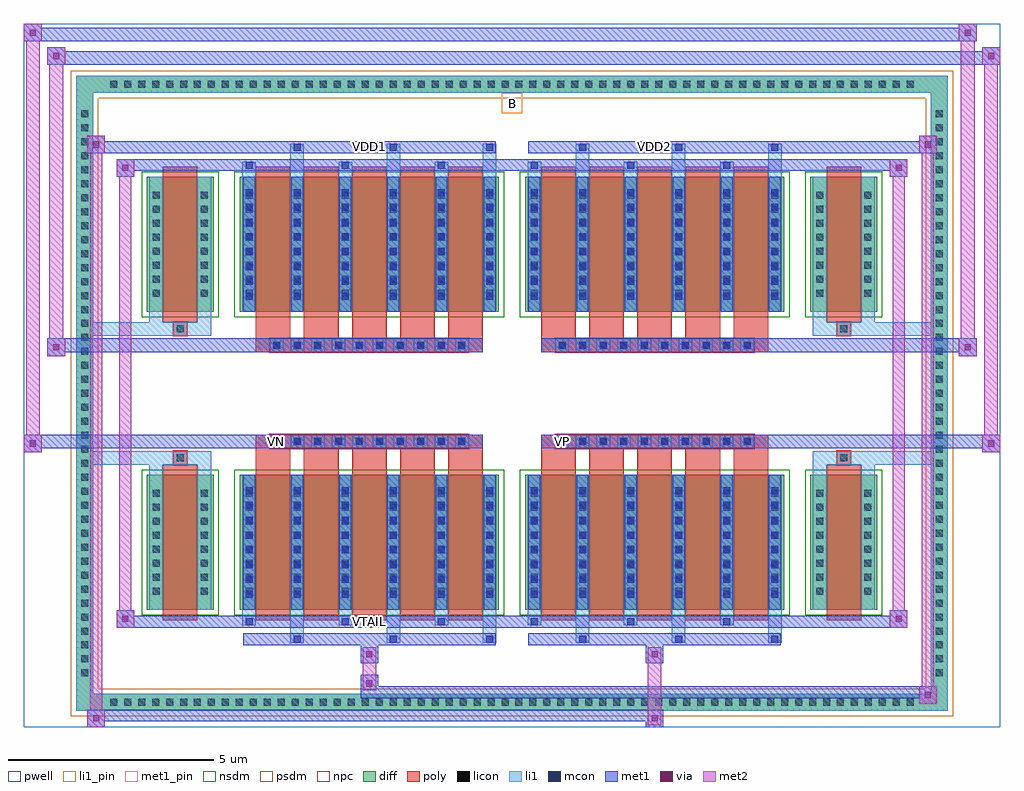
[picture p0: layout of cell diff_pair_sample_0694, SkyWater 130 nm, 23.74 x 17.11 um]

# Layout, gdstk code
import gdstk
lib = gdstk.Library(unit=1e-6, precision=5e-09)
def R(c, l, rs):  # rectangles x0, y0, x1, y1
    for r in rs: c.add(gdstk.rectangle(r[:2], r[2:], *l))
def A(c, l, x, y, w, h, nx, ny, dx, dy):  # array of equal rectangles
    R(c, l, [(x+i*dx, y+j*dy, x+i*dx+w, y+j*dy+h) for i in range(nx) for j in range(ny)])
def P(c, l, *ps):  # polygons
    for p in ps: c.add(gdstk.Polygon(p, *l))
pwell = (64, 44)
diff = (65, 20)
poly = (66, 20)
licon = (66, 44)
li1_pin = (67, 16)
li1 = (67, 20)
mcon = (67, 44)
met1_pin = (68, 16)
met1 = (68, 20)
via = (68, 44)
met2 = (69, 20)
nsdm = (93, 44)
psdm = (94, 20)
npc = (95, 20)

diff_pair_sample_0694 = lib.new_cell('diff_pair_sample_0694')
R(diff_pair_sample_0694, pwell, [(-11.87,-8.12,11.87,8.99), (-9.19,-6.31,-0.01,-0.805), (0.01,-6.31,9.19,-0.805), (-9.19,0.805,-0.01,6.31), (0.01,0.805,9.19,6.31)])
A(diff_pair_sample_0694, diff, -9.895, -7.72, 0.41, 0.41, 58, 2, 0.34, 15.03)
A(diff_pair_sample_0694, diff, -10.6, -7.005, 0.41, 0.41, 1, 41, 0, 0.34)
A(diff_pair_sample_0694, diff, 10.19, -7.005, 0.41, 0.41, 1, 41, 0, 0.34)
R(diff_pair_sample_0694, diff, [(-9.895,-7.72,9.895,-7.31), (-10.6,-7.005,-10.19,7.005), (10.19,-7.005,10.6,7.005), (-8.88,-5.265,-7.26,-1.985), (-6.62,-5.265,-0.32,-1.985), (0.32,-5.265,6.62,-1.985), (7.26,-5.265,8.88,-1.985), (-8.88,1.985,-7.26,5.265), (-6.62,1.985,-0.32,5.265), (0.32,1.985,6.62,5.265), (7.26,1.985,8.88,5.265), (-9.895,7.31,9.895,7.72)])
P(diff_pair_sample_0694, diff, [(10.6,7.72),(-10.6,7.72),(-10.6,-7.31),(-10.19,-7.31),(-10.19,7.31),(10.19,7.31),(10.19,-7.31),(-10.19,-7.31),(-10.6,-7.31),(-10.6,-7.72),(10.6,-7.72)])
A(diff_pair_sample_0694, poly, -6.23, -5.515, 0.84, 3.78, 5, 2, 1.17, 7.25)
A(diff_pair_sample_0694, poly, 0.71, -5.515, 0.84, 3.78, 5, 2, 1.17, 7.25)
A(diff_pair_sample_0694, poly, -6.23, -1.735, 0.84, 0.4, 5, 2, 1.17, 3.07)
A(diff_pair_sample_0694, poly, 0.71, -1.735, 0.84, 0.4, 5, 2, 1.17, 3.07)
A(diff_pair_sample_0694, poly, -5.885, -1.335, 0.33, 0.33, 10, 2, 0.5, 2.34)
A(diff_pair_sample_0694, poly, 1.055, -1.335, 0.33, 0.33, 10, 2, 0.5, 2.34)
R(diff_pair_sample_0694, poly, [(-8.49,-5.515,-7.65,-1.735), (7.65,-5.515,8.49,-1.735), (-8.235,-1.735,-7.905,-1.405), (-8.235,-1.735,-7.905,-1.405), (7.905,-1.735,8.235,-1.405), (7.905,-1.735,8.235,-1.405), (-6.23,-1.335,-0.71,-1.005), (0.71,-1.335,6.23,-1.005), (-6.23,1.005,-0.71,1.335), (0.71,1.005,6.23,1.335), (-8.235,1.405,-7.905,1.735), (-8.235,1.405,-7.905,1.735), (7.905,1.405,8.235,1.735), (7.905,1.405,8.235,1.735), (-8.49,1.735,-7.65,5.515), (7.65,1.735,8.49,5.515)])
A(diff_pair_sample_0694, licon, -9.775, -7.6, 0.17, 0.17, 58, 2, 0.34, 15.03)
A(diff_pair_sample_0694, licon, -10.48, -6.885, 0.17, 0.17, 1, 41, 0, 0.34)
A(diff_pair_sample_0694, licon, 10.31, -6.885, 0.17, 0.17, 1, 41, 0, 0.34)
A(diff_pair_sample_0694, licon, -8.74, -4.9, 0.17, 0.17, 1, 8, 0, 0.34)
A(diff_pair_sample_0694, licon, -7.57, -4.9, 0.17, 0.17, 1, 8, 0, 0.34)
A(diff_pair_sample_0694, licon, -6.48, -4.9, 0.17, 0.17, 6, 8, 1.17, 0.34)
A(diff_pair_sample_0694, licon, 0.46, -4.9, 0.17, 0.17, 6, 8, 1.17, 0.34)
A(diff_pair_sample_0694, licon, 7.4, -4.9, 0.17, 0.17, 1, 8, 0, 0.34)
A(diff_pair_sample_0694, licon, 8.57, -4.9, 0.17, 0.17, 1, 8, 0, 0.34)
A(diff_pair_sample_0694, licon, -5.805, -1.255, 0.17, 0.17, 10, 2, 0.5, 2.34)
A(diff_pair_sample_0694, licon, 1.135, -1.255, 0.17, 0.17, 10, 2, 0.5, 2.34)
A(diff_pair_sample_0694, licon, -8.74, 2.35, 0.17, 0.17, 1, 8, 0, 0.34)
A(diff_pair_sample_0694, licon, -7.57, 2.35, 0.17, 0.17, 1, 8, 0, 0.34)
A(diff_pair_sample_0694, licon, -6.48, 2.35, 0.17, 0.17, 6, 8, 1.17, 0.34)
A(diff_pair_sample_0694, licon, 0.46, 2.35, 0.17, 0.17, 6, 8, 1.17, 0.34)
A(diff_pair_sample_0694, licon, 7.4, 2.35, 0.17, 0.17, 1, 8, 0, 0.34)
A(diff_pair_sample_0694, licon, 8.57, 2.35, 0.17, 0.17, 1, 8, 0, 0.34)
R(diff_pair_sample_0694, licon, [(-8.155,-1.655,-7.985,-1.485), (7.985,-1.655,8.155,-1.485), (-8.155,1.485,-7.985,1.655), (7.985,1.485,8.155,1.655)])
R(diff_pair_sample_0694, li1_pin, [(-0.25,6.81,0.25,7.31)])
A(diff_pair_sample_0694, li1, -9.855, -7.68, 0.33, 0.33, 58, 2, 0.34, 15.03)
A(diff_pair_sample_0694, li1, -10.56, -6.965, 0.33, 0.33, 1, 41, 0, 0.34)
A(diff_pair_sample_0694, li1, 10.23, -6.965, 0.33, 0.33, 1, 41, 0, 0.34)
A(diff_pair_sample_0694, li1, -5.39, -6.07, 0.33, 0.805, 3, 2, 2.34, 11.335)
A(diff_pair_sample_0694, li1, -5.31, -6.07, 0.17, 0.17, 3, 2, 2.34, 11.97)
A(diff_pair_sample_0694, li1, 1.55, -6.07, 0.33, 0.805, 3, 2, 2.34, 11.335)
A(diff_pair_sample_0694, li1, 1.63, -6.07, 0.17, 0.17, 3, 2, 2.34, 11.97)
A(diff_pair_sample_0694, li1, -6.56, -5.64, 0.33, 0.375, 3, 2, 2.34, 10.905)
A(diff_pair_sample_0694, li1, -6.48, -5.64, 0.17, 0.17, 3, 2, 2.34, 11.11)
A(diff_pair_sample_0694, li1, 0.38, -5.64, 0.33, 0.375, 3, 2, 2.34, 10.905)
A(diff_pair_sample_0694, li1, 0.46, -5.64, 0.17, 0.17, 3, 2, 2.34, 11.11)
A(diff_pair_sample_0694, li1, -6.56, -5.265, 0.33, 3.28, 6, 2, 1.17, 7.25)
A(diff_pair_sample_0694, li1, 0.38, -5.265, 0.33, 3.28, 6, 2, 1.17, 7.25)
A(diff_pair_sample_0694, li1, -8.82, -4.98, 0.33, 0.33, 1, 8, 0, 0.34)
A(diff_pair_sample_0694, li1, -7.65, -4.98, 0.33, 0.33, 1, 8, 0, 0.34)
A(diff_pair_sample_0694, li1, -6.56, -4.98, 0.33, 0.33, 6, 8, 1.17, 0.34)
A(diff_pair_sample_0694, li1, 0.38, -4.98, 0.33, 0.33, 6, 8, 1.17, 0.34)
A(diff_pair_sample_0694, li1, 7.32, -4.98, 0.33, 0.33, 1, 8, 0, 0.34)
A(diff_pair_sample_0694, li1, 8.49, -4.98, 0.33, 0.33, 1, 8, 0, 0.34)
A(diff_pair_sample_0694, li1, -6.48, -4.97, 0.17, 0.17, 6, 8, 1.17, 0.36)
A(diff_pair_sample_0694, li1, -6.48, -4.97, 0.17, 2.69, 6, 2, 1.17, 7.25)
A(diff_pair_sample_0694, li1, 0.46, -4.97, 0.17, 0.17, 6, 8, 1.17, 0.36)
A(diff_pair_sample_0694, li1, 0.46, -4.97, 0.17, 2.69, 6, 2, 1.17, 7.25)
A(diff_pair_sample_0694, li1, -5.885, -1.335, 0.33, 0.33, 10, 2, 0.5, 2.34)
A(diff_pair_sample_0694, li1, 1.055, -1.335, 0.33, 0.33, 10, 2, 0.5, 2.34)
A(diff_pair_sample_0694, li1, -8.82, 2.27, 0.33, 0.33, 1, 8, 0, 0.34)
A(diff_pair_sample_0694, li1, -7.65, 2.27, 0.33, 0.33, 1, 8, 0, 0.34)
A(diff_pair_sample_0694, li1, -6.56, 2.27, 0.33, 0.33, 6, 8, 1.17, 0.34)
A(diff_pair_sample_0694, li1, 0.38, 2.27, 0.33, 0.33, 6, 8, 1.17, 0.34)
A(diff_pair_sample_0694, li1, 7.32, 2.27, 0.33, 0.33, 1, 8, 0, 0.34)
A(diff_pair_sample_0694, li1, 8.49, 2.27, 0.33, 0.33, 1, 8, 0, 0.34)
A(diff_pair_sample_0694, li1, -6.48, 2.28, 0.17, 0.17, 6, 8, 1.17, 0.36)
A(diff_pair_sample_0694, li1, 0.46, 2.28, 0.17, 0.17, 6, 8, 1.17, 0.36)
R(diff_pair_sample_0694, li1, [(-10.6,-7.72,-10.19,-7.31), (-10.6,-7.72,-10.19,-7.31), (-10.19,-7.72,10.19,-7.31), (10.19,-7.72,10.6,-7.31), (10.19,-7.72,10.6,-7.31), (-10.6,-7.31,-10.19,7.31), (10.19,-7.31,10.6,7.31), (-8.82,-5.265,-8.49,-1.985), (-7.65,-5.265,-7.32,-1.985), (7.32,-5.265,7.65,-1.985), (8.49,-5.265,8.82,-1.985), (-8.82,-1.985,-8.49,-1.405), (-7.65,-1.985,-7.32,-1.405), (7.32,-1.985,7.65,-1.405), (8.49,-1.985,8.82,-1.405), (-10.6,-1.735,-8.235,-1.405), (-8.82,-1.735,-8.235,-1.405), (-8.235,-1.735,-7.905,-1.405), (-7.905,-1.735,-7.32,-1.405), (7.32,-1.735,7.905,-1.405), (7.905,-1.735,8.235,-1.405), (7.905,-1.735,10.6,-1.405), (8.235,-1.735,8.82,-1.405), (-10.6,1.405,-8.235,1.735), (-8.82,1.405,-8.235,1.735), (-8.82,1.405,-8.49,1.985), (-8.235,1.405,-7.905,1.735), (-7.905,1.405,-7.32,1.735), (-7.65,1.405,-7.32,1.985), (7.32,1.405,7.905,1.735), (7.32,1.405,7.65,1.985), (7.905,1.405,8.235,1.735), (7.905,1.405,10.6,1.735), (8.235,1.405,8.82,1.735), (8.49,1.405,8.82,1.985), (-8.82,1.985,-8.49,5.265), (-7.65,1.985,-7.32,5.265), (7.32,1.985,7.65,5.265), (8.49,1.985,8.82,5.265), (-10.6,7.31,-10.19,7.72), (-10.6,7.31,-10.19,7.72), (-10.19,7.31,10.19,7.72), (10.19,7.31,10.6,7.72), (10.19,7.31,10.6,7.72)])
A(diff_pair_sample_0694, mcon, -5.31, -6.07, 0.17, 0.17, 3, 2, 2.34, 11.97)
A(diff_pair_sample_0694, mcon, 1.63, -6.07, 0.17, 0.17, 3, 2, 2.34, 11.97)
A(diff_pair_sample_0694, mcon, -6.48, -5.64, 0.17, 0.17, 3, 2, 2.34, 11.11)
A(diff_pair_sample_0694, mcon, 0.46, -5.64, 0.17, 0.17, 3, 2, 2.34, 11.11)
A(diff_pair_sample_0694, mcon, -6.48, -4.97, 0.17, 0.17, 6, 8, 1.17, 0.36)
A(diff_pair_sample_0694, mcon, 0.46, -4.97, 0.17, 0.17, 6, 8, 1.17, 0.36)
A(diff_pair_sample_0694, mcon, -5.805, -1.255, 0.17, 0.17, 10, 2, 0.5, 2.34)
A(diff_pair_sample_0694, mcon, 1.135, -1.255, 0.17, 0.17, 10, 2, 0.5, 2.34)
A(diff_pair_sample_0694, mcon, -6.48, 2.28, 0.17, 0.17, 6, 8, 1.17, 0.36)
A(diff_pair_sample_0694, mcon, 0.46, 2.28, 0.17, 0.17, 6, 8, 1.17, 0.36)
R(diff_pair_sample_0694, met1_pin, [(-3.605,-5.68,-3.335,-5.41), (-5.855,-1.295,-5.585,-1.025), (1.085,-1.295,1.355,-1.025), (-3.605,5.86,-3.335,6.13), (3.335,5.86,3.605,6.13)])
A(diff_pair_sample_0694, met1, -5.37, -6.13, 0.29, 0.29, 3, 2, 2.34, 11.97)
A(diff_pair_sample_0694, met1, 1.57, -6.13, 0.29, 0.29, 3, 2, 2.34, 11.97)
A(diff_pair_sample_0694, met1, -6.54, -5.7, 0.29, 0.29, 3, 2, 2.34, 11.11)
A(diff_pair_sample_0694, met1, 0.4, -5.7, 0.29, 0.29, 3, 2, 2.34, 11.11)
A(diff_pair_sample_0694, met1, -6.54, -5.265, 0.29, 3.28, 6, 2, 1.17, 7.25)
A(diff_pair_sample_0694, met1, 0.4, -5.265, 0.29, 3.28, 6, 2, 1.17, 7.25)
A(diff_pair_sample_0694, met1, -6.54, -5.03, 0.29, 0.29, 6, 8, 1.17, 0.36)
A(diff_pair_sample_0694, met1, 0.4, -5.03, 0.29, 0.29, 6, 8, 1.17, 0.36)
A(diff_pair_sample_0694, met1, -5.865, -1.315, 0.29, 0.29, 10, 2, 0.5, 2.34)
A(diff_pair_sample_0694, met1, 1.075, -1.315, 0.29, 0.29, 10, 2, 0.5, 2.34)
A(diff_pair_sample_0694, met1, -6.54, 2.22, 0.29, 0.29, 6, 8, 1.17, 0.36)
A(diff_pair_sample_0694, met1, 0.4, 2.22, 0.29, 0.29, 6, 8, 1.17, 0.36)
R(diff_pair_sample_0694, met1, [(-10.33,-8.12,-9.9,-7.69), (3.255,-8.12,3.685,-7.69), (-10.33,-7.98,3.685,-7.69), (9.9,-7.55,10.33,-7.12), (-3.685,-7.41,10.33,-7.12), (-3.685,-7.27,-3.255,-6.84), (-3.685,-6.56,-3.255,-6.13), (3.255,-6.56,3.685,-6.13), (-6.54,-6.13,-0.4,-5.84), (0.4,-6.13,6.54,-5.84), (-9.62,-5.7,-9.19,-5.27), (-9.62,-5.7,-6.54,-5.41), (-6.54,-5.7,-0.4,-5.41), (-0.4,-5.7,0.4,-5.41), (0.4,-5.7,6.54,-5.41), (6.54,-5.7,9.62,-5.41), (9.19,-5.7,9.62,-5.27), (-11.87,-1.435,-11.44,-1.005), (11.44,-1.435,11.87,-1.005), (-11.87,-1.335,-0.71,-1.005), (-6.23,-1.335,-0.71,-1.005), (0.71,-1.335,6.23,-1.005), (0.71,-1.335,11.87,-1.005), (-11.3,0.905,-10.87,1.335), (10.87,0.905,11.3,1.335), (-11.3,1.005,-6.23,1.335), (-6.23,1.005,-0.71,1.335), (0.71,1.005,6.23,1.335), (6.23,1.005,11.3,1.335), (-9.62,5.27,-9.19,5.7), (9.19,5.27,9.62,5.7), (-9.62,5.41,-6.54,5.7), (-6.54,5.41,-0.4,5.7), (-0.4,5.41,0.4,5.7), (0.4,5.41,6.54,5.7), (6.54,5.41,9.62,5.7), (-10.33,5.84,-9.9,6.27), (-10.33,5.84,-6.54,6.13), (-6.54,5.84,-0.4,6.13), (0.4,5.84,6.54,6.13), (6.54,5.84,10.33,6.13), (9.9,5.84,10.33,6.27), (-11.3,7.99,-10.87,8.42), (-11.3,7.99,-9.19,8.32), (-9.19,7.99,9.19,8.32), (9.19,7.99,11.87,8.32), (11.44,7.99,11.87,8.42), (-11.87,8.56,-11.44,8.99), (-11.87,8.56,-9.19,8.89), (-9.19,8.56,9.19,8.89), (9.19,8.56,11.3,8.89), (10.87,8.56,11.3,8.99)])
R(diff_pair_sample_0694, via, [(-10.19,-7.98,-10.04,-7.83), (3.395,-7.98,3.545,-7.83), (10.04,-7.41,10.19,-7.26), (-3.545,-7.13,-3.395,-6.98), (-3.545,-6.42,-3.395,-6.27), (3.395,-6.42,3.545,-6.27), (-9.48,-5.56,-9.33,-5.41), (9.33,-5.56,9.48,-5.41), (-11.73,-1.295,-11.58,-1.145), (11.58,-1.295,11.73,-1.145), (-11.16,1.045,-11.01,1.195), (11.01,1.045,11.16,1.195), (-9.48,5.41,-9.33,5.56), (9.33,5.41,9.48,5.56), (-10.19,5.98,-10.04,6.13), (10.04,5.98,10.19,6.13), (-11.16,8.13,-11.01,8.28), (11.58,8.13,11.73,8.28), (-11.73,8.7,-11.58,8.85), (11.01,8.7,11.16,8.85)])
R(diff_pair_sample_0694, met2, [(-10.33,-8.12,-9.9,-7.69), (-10.26,-8.12,-9.97,6.27), (-9.97,-8.12,-9.9,-7.69), (-10.28,-8.07,-9.95,-7.74), (3.305,-8.07,3.635,-7.74), (3.305,-7.74,3.635,-6.51), (9.9,-7.55,10.33,-7.12), (9.97,-7.55,10.26,6.27), (10.26,-7.55,10.33,-7.12), (9.95,-7.5,10.28,-7.17), (-3.635,-7.22,-3.305,-6.89), (-3.635,-6.89,-3.305,-6.51), (-3.635,-6.51,-3.305,-6.18), (3.305,-6.51,3.635,-6.18), (-9.62,-5.7,-9.19,-5.27), (-9.55,-5.7,-9.26,5.7), (-9.26,-5.7,-9.19,-5.27), (9.19,-5.7,9.62,-5.27), (9.26,-5.7,9.55,5.7), (9.55,-5.7,9.62,-5.27), (-9.57,-5.65,-9.24,-5.32), (9.24,-5.65,9.57,-5.32), (-11.87,-1.435,-11.44,-1.005), (-11.82,-1.435,-11.49,8.99), (-11.49,-1.435,-11.44,-1.005), (11.44,-1.435,11.87,-1.005), (11.49,-1.435,11.82,8.42), (11.82,-1.435,11.87,-1.005), (-11.82,-1.385,-11.49,-1.055), (11.49,-1.385,11.82,-1.055), (-11.3,0.905,-10.87,1.335), (-11.25,0.905,-10.92,8.42), (-10.92,0.905,-10.87,1.335), (10.87,0.905,11.3,1.335), (10.92,0.905,11.25,8.99), (11.25,0.905,11.3,1.335), (-11.25,0.955,-10.92,1.285), (10.92,0.955,11.25,1.285), (-9.62,5.27,-9.19,5.7), (-9.26,5.27,-9.19,5.7), (9.19,5.27,9.62,5.7), (9.55,5.27,9.62,5.7), (-9.57,5.32,-9.24,5.65), (9.24,5.32,9.57,5.65), (-10.33,5.84,-9.9,6.27), (-9.97,5.84,-9.9,6.27), (9.9,5.84,10.33,6.27), (10.26,5.84,10.33,6.27), (-10.28,5.89,-9.95,6.22), (9.95,5.89,10.28,6.22), (-11.3,7.99,-10.87,8.42), (-10.92,7.99,-10.87,8.42), (11.44,7.99,11.87,8.42), (11.82,7.99,11.87,8.42), (-11.25,8.04,-10.92,8.37), (11.49,8.04,11.82,8.37), (-11.87,8.56,-11.44,8.99), (-11.49,8.56,-11.44,8.99), (10.87,8.56,11.3,8.99), (11.25,8.56,11.3,8.99), (-11.82,8.61,-11.49,8.94), (10.92,8.61,11.25,8.94)])
R(diff_pair_sample_0694, nsdm, [(-9.01,-5.395,-7.13,-1.855), (-6.75,-5.395,-0.19,-1.855), (0.19,-5.395,6.75,-1.855), (7.13,-5.395,9.01,-1.855), (-9.01,1.855,-7.13,5.395), (-6.75,1.855,-0.19,5.395), (0.19,1.855,6.75,5.395), (7.13,1.855,9.01,5.395)])
P(diff_pair_sample_0694, psdm, [(10.73,7.85),(-10.73,7.85),(-10.73,-7.18),(-10.06,-7.18),(-10.06,7.18),(10.06,7.18),(10.06,-7.18),(-10.06,-7.18),(-10.73,-7.18),(-10.73,-7.85),(10.73,-7.85)])
A(diff_pair_sample_0694, npc, -5.905, -1.355, 0.37, 0.37, 10, 2, 0.5, 2.34)
A(diff_pair_sample_0694, npc, 1.035, -1.355, 0.37, 0.37, 10, 2, 0.5, 2.34)
R(diff_pair_sample_0694, npc, [(-8.255,-1.755,-7.885,-1.385), (7.885,-1.755,8.255,-1.385), (-5.905,-1.355,-5.035,-0.985), (-5.905,-1.355,-5.035,-0.985), (-5.405,-1.355,-4.535,-0.985), (-5.405,-1.355,-4.535,-0.985), (-4.905,-1.355,-4.035,-0.985), (-4.905,-1.355,-4.035,-0.985), (-4.405,-1.355,-3.535,-0.985), (-4.405,-1.355,-3.535,-0.985), (-3.905,-1.355,-3.035,-0.985), (-3.905,-1.355,-3.035,-0.985), (-3.405,-1.355,-2.535,-0.985), (-3.405,-1.355,-2.535,-0.985), (-2.905,-1.355,-2.035,-0.985), (-2.905,-1.355,-2.035,-0.985), (-2.405,-1.355,-1.535,-0.985), (-2.405,-1.355,-1.535,-0.985), (-1.905,-1.355,-1.035,-0.985), (-1.905,-1.355,-1.035,-0.985), (1.035,-1.355,1.905,-0.985), (1.035,-1.355,1.905,-0.985), (1.535,-1.355,2.405,-0.985), (1.535,-1.355,2.405,-0.985), (2.035,-1.355,2.905,-0.985), (2.035,-1.355,2.905,-0.985), (2.535,-1.355,3.405,-0.985), (2.535,-1.355,3.405,-0.985), (3.035,-1.355,3.905,-0.985), (3.035,-1.355,3.905,-0.985), (3.535,-1.355,4.405,-0.985), (3.535,-1.355,4.405,-0.985), (4.035,-1.355,4.905,-0.985), (4.035,-1.355,4.905,-0.985), (4.535,-1.355,5.405,-0.985), (4.535,-1.355,5.405,-0.985), (5.035,-1.355,5.905,-0.985), (5.035,-1.355,5.905,-0.985), (-5.905,0.985,-5.035,1.355), (-5.905,0.985,-5.035,1.355), (-5.405,0.985,-4.535,1.355), (-5.405,0.985,-4.535,1.355), (-4.905,0.985,-4.035,1.355), (-4.905,0.985,-4.035,1.355), (-4.405,0.985,-3.535,1.355), (-4.405,0.985,-3.535,1.355), (-3.905,0.985,-3.035,1.355), (-3.905,0.985,-3.035,1.355), (-3.405,0.985,-2.535,1.355), (-3.405,0.985,-2.535,1.355), (-2.905,0.985,-2.035,1.355), (-2.905,0.985,-2.035,1.355), (-2.405,0.985,-1.535,1.355), (-2.405,0.985,-1.535,1.355), (-1.905,0.985,-1.035,1.355), (-1.905,0.985,-1.035,1.355), (1.035,0.985,1.905,1.355), (1.035,0.985,1.905,1.355), (1.535,0.985,2.405,1.355), (1.535,0.985,2.405,1.355), (2.035,0.985,2.905,1.355), (2.035,0.985,2.905,1.355), (2.535,0.985,3.405,1.355), (2.535,0.985,3.405,1.355), (3.035,0.985,3.905,1.355), (3.035,0.985,3.905,1.355), (3.535,0.985,4.405,1.355), (3.535,0.985,4.405,1.355), (4.035,0.985,4.905,1.355), (4.035,0.985,4.905,1.355), (4.535,0.985,5.405,1.355), (4.535,0.985,5.405,1.355), (5.035,0.985,5.905,1.355), (5.035,0.985,5.905,1.355), (-8.255,1.385,-7.885,1.755), (7.885,1.385,8.255,1.755)])
diff_pair_sample_0694.add(gdstk.Label('VTAIL', (-3.47,-5.545), layer=68, texttype=5))
diff_pair_sample_0694.add(gdstk.Label('VN', (-5.72,-1.16), layer=68, texttype=5))
diff_pair_sample_0694.add(gdstk.Label('VP', (1.22,-1.16), layer=68, texttype=5))
diff_pair_sample_0694.add(gdstk.Label('B', (0,7.06), layer=67, texttype=5))
diff_pair_sample_0694.add(gdstk.Label('VDD2', (3.47,5.995), layer=68, texttype=5))
diff_pair_sample_0694.add(gdstk.Label('VDD1', (-3.47,5.995), layer=68, texttype=5))

lib.write_gds('diff_pair_sample_0694.gds')
